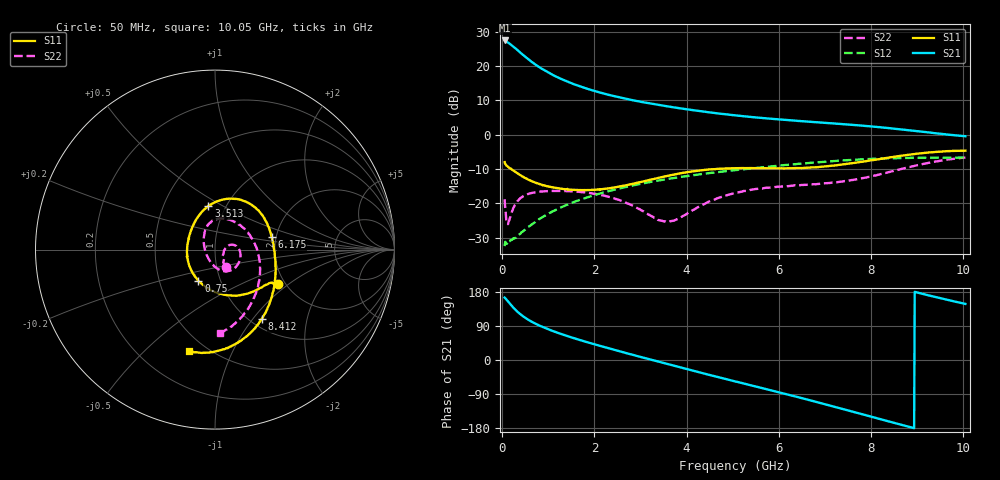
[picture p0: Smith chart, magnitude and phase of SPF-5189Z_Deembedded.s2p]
! ASPAR, V1.3 12/19/03
! Network Analyzer Model: HP8753
! startf = 50.000 MHz, stopf = 10050.000 MHz, npoints = 801
! averaging off
! IFBW = 0.001 kHz
! Sweep Time = 2.704 seconds
! Bias1: V = 5.00 V, I = 86.949 mA
! Bias2: Not Used
! Operator:
! Comments1: Deembedded to the lead  of the device
! Comments2:
!  S11  S21  S12  S22
# MHZ  S  DB R  50
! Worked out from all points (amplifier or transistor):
!   801 points, 50 MHz to 10.05 GHz, reference 50 ohm
!   highest |S21| = 27.5 dB at 50 MHz (marker M1)
!   |S21| within 3 dB of that: start of sweep to 345.7 MHz
!   unconditionally stable (mu >= 1): start of sweep to 57.15 MHz; 66.28 MHz to end of sweep
!   at 1.712 GHz: K = 1.11, MAG = 14.4 dB, |S12| = -18.9 dB
!   at 5.05 GHz: K = 1.06, MAG = 6.5 dB, |S12| = -10.4 dB
!   at 10.05 GHz: K = 1.03, MAG = 2.1 dB, |S12| = -6.6 dB
!   S11 on the Smith chart (normalised r, x): 50 MHz: 1.83, -0.83; 750 MHz: 0.79, -0.28; 3.513 GHz: 0.83, +0.43; 6.175 GHz: 1.89, +0.30; 8.412 GHz: 1.12, -1.11; 10.05 GHz: 0.40, -0.70
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50  -8.01 -28.8  27.46 164.7  -32.50 19.7  -18.83 -57.3
100  -9.08 -33.4  27.02 158.2  -31.77 15.5  -25.54 -28.2
200  -10.09 -49.1  26.12 143.6  -30.74 22.8  -22.87 15.4
250  -10.55 -57.5  25.57 136.9  -30.19 27.3  -21.15 17.6
312.5  -11.10 -67.1  24.84 129.2  -29.66 31.7  -19.75 15.1
412.5  -11.99 -81.4  23.66 118.9  -28.50 36.7  -18.36 8.6
512.5  -12.74 -93.7  22.53 110.2  -27.45 39.7  -17.55 2.0
625  -13.50 -106.0  21.34 101.9  -26.28 42.9  -17.04 -5.4
750  -14.15 -118.2  20.16 94.0  -25.07 43.7  -16.71 -12.4
912.5  -14.82 -131.9  18.76 85.2  -23.73 43.8  -16.50 -20.7
1125  -15.43 -147.6  17.22 75.1  -22.15 41.9  -16.39 -30.2
1375  -15.90 -163.7  15.68 64.6  -20.58 38.7  -16.43 -40.0
1725  -16.18 176.3  13.91 51.3  -18.79 32.5  -16.72 -52.2
2475  -15.28 140.4  11.09 25.3  -15.90 17.1  -18.76 -77.6
3387.5  -12.62 103.4  8.67 -4.5  -13.36 -4.5  -24.90 -137.1
3512.5  -12.23 98.6  8.40 -8.4  -13.08 -7.7  -25.27 -150.0
5050  -9.77 45.5  5.63 -56.4  -10.35 -47.1  -16.94 106.8
6175  -9.79 12.7  4.27 -90.5  -8.82 -77.3  -15.01 76.4
6725  -9.53 -3.4  3.71 -107.9  -8.18 -93.0  -14.50 56.1
8387.5  -6.68 -55.2  1.91 -162.0  -6.90 -143.8  -10.91 -28.4
8412.5  -6.63 -56.0  1.87 -162.9  -6.88 -144.5  -10.84 -29.6
10050  -4.67 -104.2  -0.45 148.0  -6.63 166.5  -6.68 -86.6
